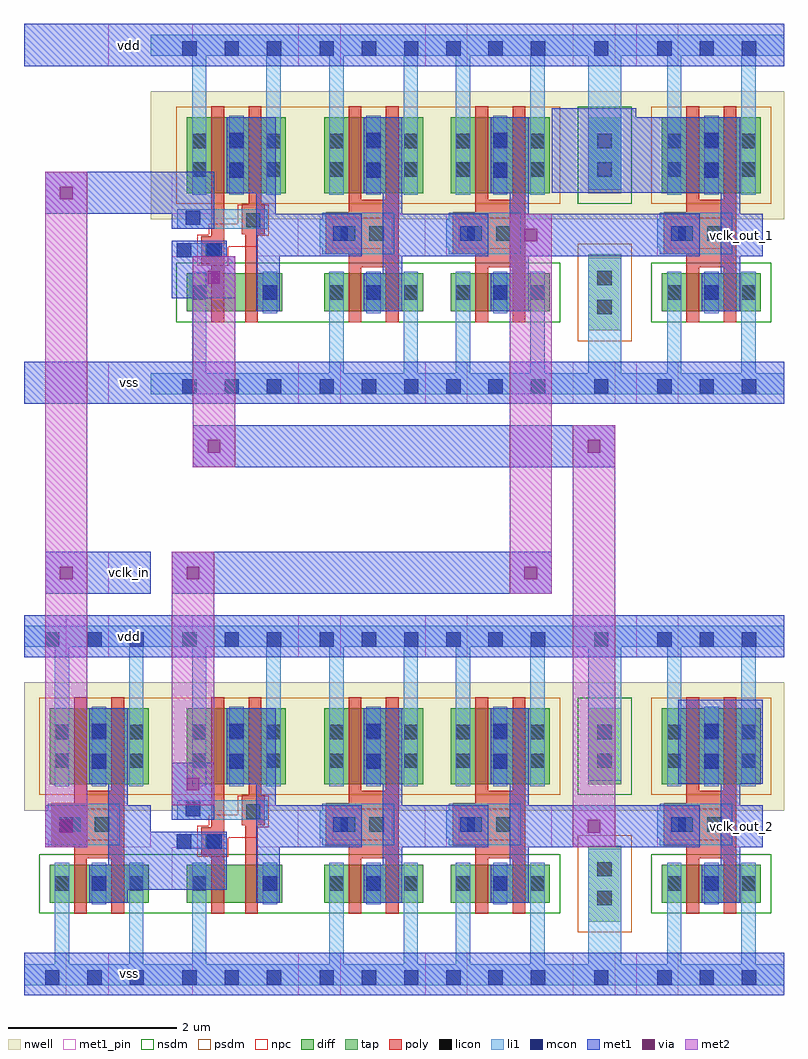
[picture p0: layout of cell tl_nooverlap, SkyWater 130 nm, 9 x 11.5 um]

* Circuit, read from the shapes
.subckt tl_nooverlap vclk_in vclk_out_1 vclk_out_2 vdd vss
XM1 sc_nand2_7/b vclk_in vss vss sky130_fd_pr__nfet_01v8 w=0.45 l=0.15 m=2
XM2 sc_nand2_7/sky130_fd_pr__nfet_01v8_sc_nand2_m4_0/D sc_nand2_7/b vss vss sky130_fd_pr__nfet_01v8 w=0.45 l=0.15
XM3 sc_nand2_8/sky130_fd_pr__nfet_01v8_sc_nand2_m4_0/D sc_nand2_8/b vss vss sky130_fd_pr__nfet_01v8 w=0.45 l=0.15
XM4 sc_not_3/x sc_nand2_7/a sc_nand2_7/sky130_fd_pr__nfet_01v8_sc_nand2_m4_0/D vss sky130_fd_pr__nfet_01v8 w=0.45 l=0.15
XM5 sc_not_5/x vclk_in sc_nand2_8/sky130_fd_pr__nfet_01v8_sc_nand2_m4_0/D vss sky130_fd_pr__nfet_01v8 w=0.45 l=0.15
XM6 sc_not_2/x sc_not_3/x vss vss sky130_fd_pr__nfet_01v8 w=0.45 l=0.15 m=2
XM7 sc_not_4/x sc_not_5/x vss vss sky130_fd_pr__nfet_01v8 w=0.45 l=0.15 m=2
XM8 sc_nand2_8/b sc_not_2/x vss vss sky130_fd_pr__nfet_01v8 w=0.45 l=0.15 m=2
XM9 sc_nand2_7/a sc_not_4/x vss vss sky130_fd_pr__nfet_01v8 w=0.45 l=0.15 m=2
XM10 vclk_out_2 sc_nand2_8/b vss vss sky130_fd_pr__nfet_01v8 w=0.45 l=0.15 m=2
XM11 vclk_out_1 sc_nand2_7/a vss vss sky130_fd_pr__nfet_01v8 w=0.45 l=0.15 m=2
XM12 sc_nand2_7/b vclk_in vdd vdd sky130_fd_pr__pfet_01v8 w=0.9 l=0.15 m=2
XM13 sc_not_3/x sc_nand2_7/b vdd vdd sky130_fd_pr__pfet_01v8 w=0.9 l=0.15
XM14 sc_not_5/x sc_nand2_8/b vdd vdd sky130_fd_pr__pfet_01v8 w=0.9 l=0.15
XM15 vdd sc_nand2_7/a sc_not_3/x vdd sky130_fd_pr__pfet_01v8 w=0.9 l=0.15
XM16 vdd vclk_in sc_not_5/x vdd sky130_fd_pr__pfet_01v8 w=0.9 l=0.15
XM17 sc_not_2/x sc_not_3/x vdd vdd sky130_fd_pr__pfet_01v8 w=0.9 l=0.15 m=2
XM18 sc_not_4/x sc_not_5/x vdd vdd sky130_fd_pr__pfet_01v8 w=0.9 l=0.15 m=2
XM19 sc_nand2_8/b sc_not_2/x vdd vdd sky130_fd_pr__pfet_01v8 w=0.9 l=0.15 m=2
XM20 sc_nand2_7/a sc_not_4/x vdd vdd sky130_fd_pr__pfet_01v8 w=0.9 l=0.15 m=2
XM21 vclk_out_2 sc_nand2_8/b vdd vdd sky130_fd_pr__pfet_01v8 w=0.9 l=0.15 m=2
XM22 vclk_out_1 sc_nand2_7/a vdd vdd sky130_fd_pr__pfet_01v8 w=0.9 l=0.15 m=2
.ends

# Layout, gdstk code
from math import pi, radians
import gdstk
lib = gdstk.Library(unit=1e-6, precision=1e-09)
def R(c, l, rs):  # rectangles x0, y0, x1, y1
    for r in rs: c.add(gdstk.rectangle(r[:2], r[2:], *l))
def A(c, l, x, y, w, h, nx, ny, dx, dy):  # array of equal rectangles
    R(c, l, [(x+i*dx, y+j*dy, x+i*dx+w, y+j*dy+h) for i in range(nx) for j in range(ny)])
nwell = (64, 20)
diff = (65, 20)
tap = (65, 44)
poly = (66, 20)
licon = (66, 44)
li1 = (67, 20)
mcon = (67, 44)
met1_pin = (68, 16)
met1 = (68, 20)
via = (68, 44)
met2 = (69, 20)
nsdm = (93, 44)
psdm = (94, 20)
npc = (95, 20)

sky130_fd_pr__pfet_01v8_ = lib.new_cell('sky130_fd_pr__pfet_01v8_scc_inv_m1')
R(sky130_fd_pr__pfet_01v8_, nwell, [(6.85,-4.65,8.38,-3.13)])
R(sky130_fd_pr__pfet_01v8_, diff, [(7.03,-4.34,8.2,-3.44)])
R(sky130_fd_pr__pfet_01v8_, poly, [(7.32,-4.565,7.91,-4.415), (7.32,-4.415,7.47,-3.31), (7.76,-4.415,7.91,-3.31)])
A(sky130_fd_pr__pfet_01v8_, licon, 7.09, -4.145, 0.17, 0.17, 3, 2, 0.44, 0.34)
A(sky130_fd_pr__pfet_01v8_, li1, 7.09, -4.36, 0.17, 0.94, 3, 1, 0.44, 0)
R(sky130_fd_pr__pfet_01v8_, mcon, [(7.53,-4.155,7.7,-3.985), (7.53,-3.795,7.7,-3.625)])
R(sky130_fd_pr__pfet_01v8_, met1, [(7.5,-4.34,7.73,-3.44)])
R(sky130_fd_pr__pfet_01v8_, psdm, [(6.905,-4.465,8.325,-3.315)])
sky130_fd_pr__pfet_01v8_.add(gdstk.Label('D0', (7.615,-3.89), layer=67, texttype=5))
sky130_fd_pr__pfet_01v8_.add(gdstk.Label('S0', (7.175,-3.89), layer=67, texttype=5))
sky130_fd_pr__pfet_01v8_.add(gdstk.Label('D1', (7.615,-3.89), layer=67, texttype=5))
sky130_fd_pr__pfet_01v8_.add(gdstk.Label('S1', (8.055,-3.89), layer=67, texttype=5))

sky130_fd_pr__nfet_01v8_ = lib.new_cell('sky130_fd_pr__nfet_01v8_scc_inv_m2')
R(sky130_fd_pr__nfet_01v8_, diff, [(7.265,-4.22,8.435,-3.77)])
R(sky130_fd_pr__nfet_01v8_, poly, [(7.555,-4.35,7.705,-3.695), (7.995,-4.35,8.145,-3.695), (7.555,-3.695,8.145,-3.545)])
A(sky130_fd_pr__nfet_01v8_, licon, 7.325, -4.08, 0.17, 0.17, 3, 1, 0.44, 0)
A(sky130_fd_pr__nfet_01v8_, li1, 7.325, -4.24, 0.17, 0.49, 3, 1, 0.44, 0)
R(sky130_fd_pr__nfet_01v8_, mcon, [(7.765,-4.08,7.935,-3.91)])
R(sky130_fd_pr__nfet_01v8_, met1, [(7.735,-4.22,7.965,-3.77)])
R(sky130_fd_pr__nfet_01v8_, nsdm, [(7.14,-4.345,8.56,-3.645)])
sky130_fd_pr__nfet_01v8_.add(gdstk.Label('D0', (7.85,-3.995), layer=67, texttype=5))
sky130_fd_pr__nfet_01v8_.add(gdstk.Label('S0', (7.41,-3.995), layer=67, texttype=5))
sky130_fd_pr__nfet_01v8_.add(gdstk.Label('D1', (7.85,-3.995), layer=67, texttype=5))
sky130_fd_pr__nfet_01v8_.add(gdstk.Label('S1', (8.29,-3.995), layer=67, texttype=5))

sc_not = lib.new_cell('sc_not')
R(sc_not, nwell, [(2.75,-3.815,4.5,-2.295)])
R(sc_not, poly, [(3.075,-4.23,3.935,-3.73)])
R(sc_not, licon, [(3.25,-4.065,3.42,-3.895), (3.59,-4.065,3.76,-3.895)])
R(sc_not, li1, [(2.75,-5.885,4.5,-5.635), (3.115,-5.635,3.285,-4.925), (3.995,-5.635,4.165,-4.925), (3.03,-4.225,3.885,-4.145), (3,-4.145,3.885,-3.815), (3.03,-3.815,3.885,-3.735), (3.115,-2.585,3.285,-1.875), (3.995,-2.585,4.165,-1.875), (2.75,-1.875,4.5,-1.625)])
A(sc_not, mcon, 3, -5.875, 0.17, 0.17, 3, 2, 0.5, 4)
R(sc_not, mcon, [(3.165,-4.065,3.335,-3.895)])
R(sc_not, met1_pin, [(2.75,-6,3.25,-5.5), (3,-4.25,3.5,-3.75), (3.75,-4.25,4.25,-3.75), (2.75,-2,3.25,-1.5)])
R(sc_not, met1, [(2.75,-6,4.5,-5.5), (3.75,-4.905,3.98,-4.25), (3,-4.25,3.5,-3.75), (3.75,-4.25,4.25,-3.75), (3.75,-3.75,3.98,-2.605), (2.75,-2,4.5,-1.5)])
R(sc_not, npc, [(3.15,-4.165,3.86,-3.795)])
sc_not.add(gdstk.Reference(sky130_fd_pr__pfet_01v8_, (-3.975,0.835)))
sc_not.add(gdstk.Reference(sky130_fd_pr__nfet_01v8_, (-4.21,-0.685)))
sc_not.add(gdstk.Label('vdd', (3,-1.75), layer=68, texttype=5))
sc_not.add(gdstk.Label('vss', (3,-5.75), layer=68, texttype=5))
sc_not.add(gdstk.Label('x', (3.25,-4), layer=68, texttype=5))
sc_not.add(gdstk.Label('y', (4,-4), layer=68, texttype=5))

c_sky130_fd_pr__nfet_01v8_ = lib.new_cell('sky130_fd_pr__nfet_01v8_sc_nand2_m4')
R(c_sky130_fd_pr__nfet_01v8_, diff, [(-0.325,-0.225,0.365,0.225)])
R(c_sky130_fd_pr__nfet_01v8_, poly, [(-0.075,-0.355,0.075,0.355)])
R(c_sky130_fd_pr__nfet_01v8_, licon, [(0.135,-0.085,0.305,0.085)])
R(c_sky130_fd_pr__nfet_01v8_, li1, [(0.135,-0.245,0.305,0.245)])
R(c_sky130_fd_pr__nfet_01v8_, nsdm, [(-0.45,-0.35,0.49,0.35)])
c_sky130_fd_pr__nfet_01v8_.add(gdstk.Label('D', (-0.22,0), layer=65, texttype=6))
c_sky130_fd_pr__nfet_01v8_.add(gdstk.Label('S', (0.22,0), layer=67, texttype=5))

c_sky130_fd_pr__nfet_01v8__ = lib.new_cell('sky130_fd_pr__nfet_01v8_sc_nand2_m3')
R(c_sky130_fd_pr__nfet_01v8__, diff, [(-0.365,-0.225,0.325,0.225)])
R(c_sky130_fd_pr__nfet_01v8__, poly, [(-0.075,-0.355,0.075,0.355)])
R(c_sky130_fd_pr__nfet_01v8__, licon, [(-0.305,-0.085,-0.135,0.085)])
R(c_sky130_fd_pr__nfet_01v8__, li1, [(-0.305,-0.245,-0.135,0.245)])
R(c_sky130_fd_pr__nfet_01v8__, mcon, [(-0.305,-0.085,-0.135,0.085)])
R(c_sky130_fd_pr__nfet_01v8__, met1, [(-0.335,-0.225,-0.105,0.225)])
R(c_sky130_fd_pr__nfet_01v8__, nsdm, [(-0.49,-0.35,0.45,0.35)])
c_sky130_fd_pr__nfet_01v8__.add(gdstk.Label('D', (-0.22,0), layer=67, texttype=5))
c_sky130_fd_pr__nfet_01v8__.add(gdstk.Label('S', (0.22,0), layer=65, texttype=6))

c_sky130_fd_pr__pfet_01v8_ = lib.new_cell('sky130_fd_pr__pfet_01v8_sc_nand2_m2')
R(c_sky130_fd_pr__pfet_01v8_, nwell, [(-0.545,-0.76,0.545,0.76)])
R(c_sky130_fd_pr__pfet_01v8_, diff, [(-0.365,-0.45,0.365,0.45)])
R(c_sky130_fd_pr__pfet_01v8_, poly, [(-0.075,-0.58,0.075,0.58)])
R(c_sky130_fd_pr__pfet_01v8_, licon, [(-0.305,-0.255,-0.135,-0.085), (0.135,-0.255,0.305,-0.085), (-0.305,0.085,-0.135,0.255), (0.135,0.085,0.305,0.255)])
R(c_sky130_fd_pr__pfet_01v8_, li1, [(-0.305,-0.47,-0.135,0.47), (0.135,-0.47,0.305,0.47)])
R(c_sky130_fd_pr__pfet_01v8_, mcon, [(-0.305,-0.265,-0.135,-0.095), (-0.305,0.095,-0.135,0.265)])
R(c_sky130_fd_pr__pfet_01v8_, met1, [(-0.335,-0.45,-0.105,0.45)])
R(c_sky130_fd_pr__pfet_01v8_, psdm, [(-0.49,-0.575,0.49,0.575)])
c_sky130_fd_pr__pfet_01v8_.add(gdstk.Label('D', (-0.22,0), layer=67, texttype=5))
c_sky130_fd_pr__pfet_01v8_.add(gdstk.Label('S', (0.22,0), layer=67, texttype=5))

c_sky130_fd_pr__pfet_01v8__ = lib.new_cell('sky130_fd_pr__pfet_01v8_sc_nand2_m1')
R(c_sky130_fd_pr__pfet_01v8__, nwell, [(-0.545,-0.76,0.545,0.76)])
R(c_sky130_fd_pr__pfet_01v8__, diff, [(-0.365,-0.45,0.365,0.45)])
R(c_sky130_fd_pr__pfet_01v8__, poly, [(-0.075,-0.58,0.075,0.58)])
R(c_sky130_fd_pr__pfet_01v8__, licon, [(-0.305,-0.255,-0.135,-0.085), (0.135,-0.255,0.305,-0.085), (-0.305,0.085,-0.135,0.255), (0.135,0.085,0.305,0.255)])
R(c_sky130_fd_pr__pfet_01v8__, li1, [(-0.305,-0.47,-0.135,0.47), (0.135,-0.47,0.305,0.47)])
R(c_sky130_fd_pr__pfet_01v8__, mcon, [(-0.305,-0.265,-0.135,-0.095), (-0.305,0.095,-0.135,0.265)])
R(c_sky130_fd_pr__pfet_01v8__, met1, [(-0.335,-0.45,-0.105,0.45)])
R(c_sky130_fd_pr__pfet_01v8__, psdm, [(-0.49,-0.575,0.49,0.575)])
c_sky130_fd_pr__pfet_01v8__.add(gdstk.Label('D', (-0.22,0), layer=67, texttype=5))
c_sky130_fd_pr__pfet_01v8__.add(gdstk.Label('S', (0.22,0), layer=67, texttype=5))

sc_nand2 = lib.new_cell('sc_nand2')
R(sc_nand2, nwell, [(1.5,-5.815,3.5,-4.295)])
R(sc_nand2, poly, [(2.1,-6.345,2.37,-6.015), (2.62,-6.325,2.77,-5.99), (2.22,-6.015,2.37,-5.635), (2.58,-5.99,2.85,-5.635)])
R(sc_nand2, licon, [(2.15,-6.265,2.32,-6.095), (2.63,-5.91,2.8,-5.74)])
R(sc_nand2, li1, [(1.5,-7.885,3.5,-7.635), (1.99,-7.635,2.16,-6.925), (1.81,-6.265,2.4,-6.095), (1.815,-5.925,2.88,-5.695), (1.99,-4.585,2.16,-3.875), (2.87,-4.585,3.04,-3.875), (1.5,-3.875,3.5,-3.625)])
A(sc_nand2, mcon, 1.875, -7.875, 0.17, 0.17, 3, 2, 0.5, 4)
R(sc_nand2, mcon, [(1.81,-6.265,1.98,-6.095), (2.17,-6.265,2.34,-6.095), (1.915,-5.88,2.085,-5.71)])
R(sc_nand2, met1_pin, [(1.5,-8,2,-7.5), (1.75,-6.75,2.25,-6.25), (2.75,-6.25,3.25,-5.75), (1.75,-5.75,2.25,-5.25), (1.5,-4,2,-3.5)])
R(sc_nand2, met1, [(1.5,-8,3.5,-7.5), (2.75,-6.905,3.03,-6.25), (1.75,-6.75,2.4,-6.065), (2.75,-6.25,3.25,-5.75), (1.75,-5.925,2.25,-5.25), (2.75,-5.75,2.98,-5.505), (2.63,-5.505,2.98,-4.605), (1.5,-4,3.5,-3.5)])
R(sc_nand2, npc, [(2.05,-6.365,2.42,-6.14), (2.05,-6.14,2.76,-6.01), (2.05,-6.01,2.9,-5.995), (2.19,-5.995,2.9,-5.865), (2.53,-5.865,2.9,-5.64)])
sc_nand2.add(gdstk.Reference(c_sky130_fd_pr__nfet_01v8_, (2.295,-6.68), rotation=pi))
sc_nand2.add(gdstk.Reference(c_sky130_fd_pr__nfet_01v8__, (2.695,-6.68), rotation=pi))
sc_nand2.add(gdstk.Reference(c_sky130_fd_pr__pfet_01v8_, (2.295,-5.055), rotation=pi))
sc_nand2.add(gdstk.Reference(c_sky130_fd_pr__pfet_01v8__, (2.735,-5.055)))
sc_nand2.add(gdstk.Label('a', (2,-5.5), layer=68, texttype=5))
sc_nand2.add(gdstk.Label('b', (2,-6.5), layer=68, texttype=5))
sc_nand2.add(gdstk.Label('y', (3,-6), layer=68, texttype=5))
sc_nand2.add(gdstk.Label('vdd', (1.75,-3.75), layer=68, texttype=5))
sc_nand2.add(gdstk.Label('vss', (1.75,-7.75), layer=68, texttype=5))

sc_body_conn = lib.new_cell('sc_body_conn')
R(sc_body_conn, nwell, [(-0.75,2.185,0,3.705)])
R(sc_body_conn, tap, [(-0.57,0.87,-0.18,1.77), (-0.57,2.495,-0.18,3.395)])
R(sc_body_conn, licon, [(-0.46,1.065,-0.29,1.235), (-0.46,1.405,-0.29,1.575), (-0.46,2.69,-0.29,2.86), (-0.46,3.03,-0.29,3.2)])
R(sc_body_conn, li1, [(-0.75,0.115,0,0.365), (-0.57,0.365,-0.18,1.73), (-0.57,2.535,-0.18,4.125), (-0.75,4.125,0,4.375)])
R(sc_body_conn, mcon, [(-0.5,0.125,-0.33,0.295), (-0.5,4.125,-0.33,4.295)])
R(sc_body_conn, met1_pin, [(-0.75,0,-0.25,0.5), (-0.75,4,-0.25,4.5)])
R(sc_body_conn, met1, [(-0.75,0,0,0.5), (-0.75,4,0,4.5)])
R(sc_body_conn, nsdm, [(-0.695,2.37,-0.055,3.52)])
R(sc_body_conn, psdm, [(-0.695,0.745,-0.055,1.895)])
sc_body_conn.add(gdstk.Label('vdd', (-0.5,4.25), layer=68, texttype=5))
sc_body_conn.add(gdstk.Label('vss', (-0.5,0.25), layer=68, texttype=5))

tl_nooverlap = lib.new_cell('tl_nooverlap')
R(tl_nooverlap, met1_pin, [(3.75,-8,4.25,-7.5), (11,-6.25,11.5,-5.75), (3.75,-4,4.25,-3.5), (3.75,-3.25,4.25,-2.75), (3.75,-1,4.25,-0.5), (11,0.75,11.5,1.25), (3.75,3,4.25,3.5)])
R(tl_nooverlap, met1, [(3.75,-8,4.25,-7.5), (3.75,-6.75,4.5,-6.065), (3,-6.25,3.5,-5.75), (6,-6.25,6.25,-5.75), (7.5,-6.25,7.75,-5.75), (9,-6.25,10.25,-5.75), (11,-6.25,11.5,-5.75), (4.5,-5.75,5,-5.25), (10.5,-5.5,11.5,-4.5), (3.75,-4,4.25,-3.5), (3,-3.25,4.25,-2.75), (4.5,-3.25,9,-2.75), (4.75,-1.75,9.75,-1.25), (2.75,-1,4.25,-0.5), (4.75,0.25,5.25,0.75), (6,0.75,6.25,1.25), (7.5,0.75,7.75,1.25), (8.5,0.75,10.25,1.25), (11,0.75,11.5,1.25), (3,1.25,5,1.75), (9,1.5,11.23,2.395), (9,2.395,10,2.5), (2.75,3,4.25,3.5)])
R(tl_nooverlap, via, [(3.175,-6.075,3.325,-5.925), (9.425,-6.075,9.575,-5.925), (4.675,-5.575,4.825,-5.425), (3.175,-3.075,3.325,-2.925), (4.675,-3.075,4.825,-2.925), (8.675,-3.075,8.825,-2.925), (4.925,-1.575,5.075,-1.425), (9.425,-1.575,9.575,-1.425), (4.925,0.425,5.075,0.575), (8.675,0.925,8.825,1.075), (3.175,1.425,3.325,1.575)])
R(tl_nooverlap, met2, [(3,-6.25,3.5,1.75), (9.25,-6.25,9.75,-1.25), (4.5,-5.75,5,-2.75), (8.5,-3.25,9,1.25), (4.75,-1.75,5.25,0.75)])
R(tl_nooverlap, nsdm, [(4.35,-7.03,4.555,-6.33), (5.935,-7.03,6.18,-6.33), (7.6,-7.03,7.68,-6.33), (5.935,-0.03,6.18,0.67), (7.6,-0.03,7.68,0.67)])
R(tl_nooverlap, psdm, [(4.35,-5.63,4.555,-4.48), (5.975,-5.63,6.18,-4.48), (7.6,-5.63,7.68,-4.48), (5.975,1.37,6.18,2.52), (7.6,1.37,7.68,2.52)])
tl_nooverlap.add(gdstk.Reference(sc_not, (7.25,-2)))
tl_nooverlap.add(gdstk.Reference(sc_not, (7.25,5)))
tl_nooverlap.add(gdstk.Reference(sc_not, (4.75,-2)))
tl_nooverlap.add(gdstk.Reference(sc_not, (3.25,-2)))
tl_nooverlap.add(gdstk.Reference(sc_not, (4.75,5)))
tl_nooverlap.add(gdstk.Reference(sc_not, (3.25,5)))
tl_nooverlap.add(gdstk.Reference(sc_not, (0,-2)))
tl_nooverlap.add(gdstk.Reference(sc_nand2, (2.75,0)))
tl_nooverlap.add(gdstk.Reference(sc_nand2, (2.75,7)))
tl_nooverlap.add(gdstk.Reference(sc_body_conn, (10,-8)))
tl_nooverlap.add(gdstk.Reference(sc_body_conn, (10,-1)))
tl_nooverlap.add(gdstk.Label('vdd', (4,-3.75), layer=68, texttype=5))
tl_nooverlap.add(gdstk.Label('vdd', (4,3.25), layer=68, texttype=5))
tl_nooverlap.add(gdstk.Label('vss', (4,-7.75), layer=68, texttype=5))
tl_nooverlap.add(gdstk.Label('vss', (4,-0.75), layer=68, texttype=5))
tl_nooverlap.add(gdstk.Label('vclk_in', (4,-3), layer=68, texttype=5))
tl_nooverlap.add(gdstk.Label('vclk_out_1', (11.25,1), layer=68, texttype=5))
tl_nooverlap.add(gdstk.Label('vclk_out_2', (11.25,-6), layer=68, texttype=5))

lib.write_gds('tl_nooverlap.gds')
